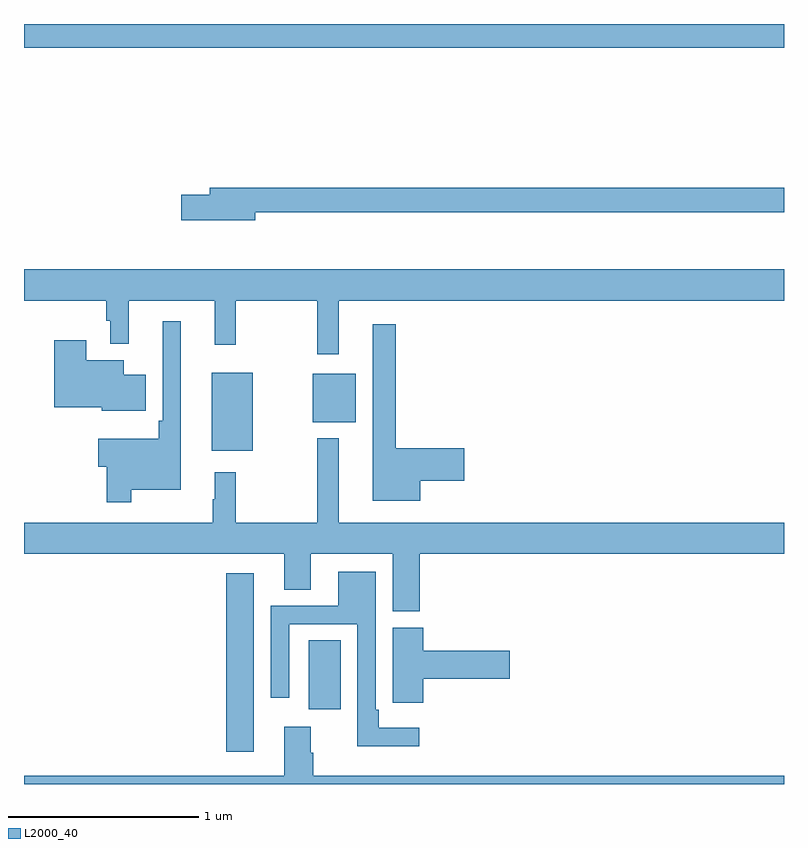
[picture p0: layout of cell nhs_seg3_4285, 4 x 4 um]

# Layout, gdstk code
import gdstk
lib = gdstk.Library(unit=1e-6, precision=1e-09)
def R(c, l, rs):  # rectangles x0, y0, x1, y1
    for r in rs: c.add(gdstk.rectangle(r[:2], r[2:], *l))
def P(c, l, *ps):  # polygons
    for p in ps: c.add(gdstk.Polygon(p, *l))
L2000_40 = (2000, 40)

nhs_seg3_4285 = lib.new_cell('nhs_seg3_4285')
R(nhs_seg3_4285, L2000_40, [(340.064,670.569,340.21,671.509), (340.499,670.794,340.666,671.156), (339.989,672.155,340.204,672.565), (340.52,672.305,340.747,672.559), (339,674.276,343,674.4)])
P(nhs_seg3_4285, L2000_40, [(340.216,673.41),(343,673.41),(343,673.538),(339.977,673.538),(339.977,673.502),(339.828,673.502),(339.828,673.367),(340.216,673.367)],
  [(340.657,672.944),(343,672.944),(343,673.108),(339,673.108),(339,672.944),(339.433,672.944),(339.433,672.837),(339.453,672.837),(339.453,672.716),(339.551,672.716),(339.551,672.944),(340.004,672.944),(340.004,672.711),(340.114,672.711),(340.114,672.944),(340.543,672.944),(340.543,672.663),(340.657,672.663)],
  [(339.565,671.948),(339.826,671.948),(339.826,672.835),(339.729,672.835),(339.729,672.313),(339.709,672.313),(339.709,672.217),(339.392,672.217),(339.392,672.07),(339.436,672.07),(339.436,671.883),(339.565,671.883)],
  [(341.086,671.996),(341.317,671.996),(341.317,672.167),(340.957,672.167),(340.957,672.82),(340.835,672.82),(340.835,671.891),(341.086,671.891)],
  [(339.64,672.553),(339.526,672.553),(339.526,672.631),(339.328,672.631),(339.328,672.736),(339.158,672.736),(339.158,672.383),(339.408,672.383),(339.408,672.365),(339.64,672.365)],
  [(341.084,671.612),(343,671.612),(343,671.776),(340.657,671.776),(340.657,672.22),(340.543,672.22),(340.543,671.776),(340.114,671.776),(340.114,672.04),(340.004,672.04),(340.004,671.9),(339.993,671.9),(339.993,671.776),(339,671.776),(339,671.612),(340.37,671.612),(340.37,671.422),(340.51,671.422),(340.51,671.612),(340.94,671.612),(340.94,671.308),(341.084,671.308)],
  [(341.08,670.696),(340.867,670.696),(340.867,670.792),(340.851,670.792),(340.851,671.518),(340.655,671.518),(340.655,671.337),(340.299,671.337),(340.299,670.854),(340.395,670.854),(340.395,671.241),(340.755,671.241),(340.755,670.598),(341.08,670.598)],
  [(341.102,670.955),(341.557,670.955),(341.557,671.102),(341.102,671.102),(341.102,671.223),(340.94,671.223),(340.94,670.939),(340.941,670.939),(340.941,670.827),(341.102,670.827)],
  [(343,670.444),(340.523,670.444),(340.523,670.565),(340.51,670.565),(340.51,670.702),(340.37,670.702),(340.37,670.444),(339,670.444),(339,670.4),(343,670.4)])

lib.write_gds('nhs_seg3_4285.gds')
